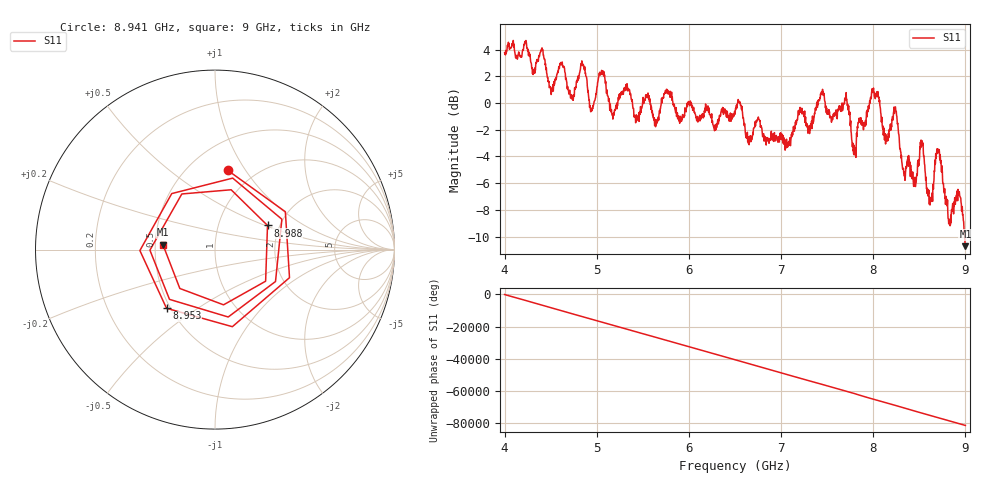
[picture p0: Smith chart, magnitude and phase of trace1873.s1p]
! Created with skrf 1.8.0 (http://scikit-rf.org).
# Hz S RI R 50.0
!freq ReS11 ImS11
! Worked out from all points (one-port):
!   1601 points, 4 GHz to 9 GHz, reference 50 ohm
!   lowest |S11| = -10.7 dB at 9 GHz (marker M1), VSWR 1.82, Z = 27.5 + j1.63 ohm
!   |S11| at or under -10 dB: 8.993294 GHz to end of sweep
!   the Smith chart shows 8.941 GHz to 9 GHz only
!   S11 on the Smith chart (normalised r, x): 8.941 GHz: 0.76, +0.83; 8.953 GHz: 0.48, -0.38; 8.988 GHz: 1.73, +0.52; 9 GHz: 0.55, +0.03
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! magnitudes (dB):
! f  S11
! 4 GHz  3.8
! 4.406 GHz  4.1
! 4.506 GHz  0.6
! 4.625 GHz  3.1
! 4.731 GHz  0.3
! 4.853 GHz  2.9
! 4.944 GHz  -0.4
! 5.05 GHz  2.2
! 5.166 GHz  -0.8
! 5.25 GHz  0.7
! 5.875 GHz  -0.7
! 6.5 GHz  -0.8
! 7.125 GHz  -2.4
! 7.444 GHz  0.8
! 7.75 GHz  -1.7
! 7.797 GHz  -3.7
! 8.012 GHz  0.5
! 8.244 GHz  -0.6
! 8.375 GHz  -4.5
! 8.453 GHz  -6.2
! 8.528 GHz  -2.8
! 8.619 GHz  -7.3
! 8.703 GHz  -3.4
! 8.825 GHz  -9.0
! 8.941 GHz  -7.0
! 8.953 GHz  -7.5
! 8.988 GHz  -9.8
! 9 GHz  -10.7
